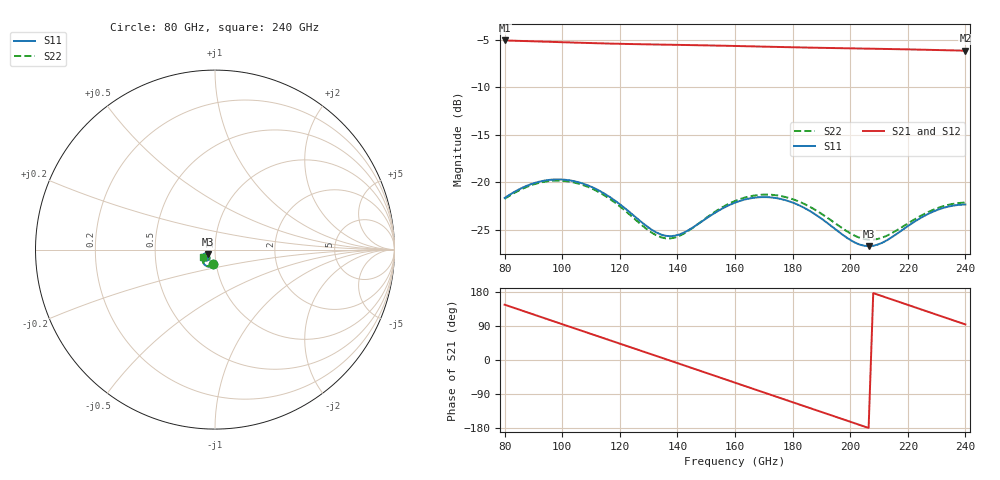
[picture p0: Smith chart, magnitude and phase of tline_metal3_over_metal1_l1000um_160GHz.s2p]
#  GHZ S DB R 50
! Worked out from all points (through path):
!   101 points, 80 GHz to 240 GHz, reference 50 ohm
!   highest |S21| = -5.08 dB at 80 GHz (marker M1); lowest = -6.2 dB at 240 GHz (marker M2)
!   group delay of S21, straight-line fit = 7.16 ps
!   lowest |S11| = -26.8 dB at 206.4 GHz (marker M3), VSWR 1.10, Z = 46.3 - j2.47 ohm
!   |S11| at or under -10 dB: start of sweep to end of sweep
!   |S22| runs from -26.1 to -19.9 dB; largest |S21 - S12| = 9e-14
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80  -21.68 -97.0  -5.08 146.0  -5.08 146.0  -21.77 -98.8
88  -20.35 -103.9  -5.15 125.4  -5.15 125.4  -20.47 -105.3
94.4  -19.81 -112.6  -5.21 108.9  -5.21 108.9  -19.94 -113.8
100.8  -19.75 -122.3  -5.27 92.5  -5.27 92.5  -19.89 -123.3
107.2  -20.16 -131.8  -5.33 76.0  -5.33 76.0  -20.31 -132.7
113.6  -21.03 -140.1  -5.38 59.6  -5.38 59.6  -21.21 -140.8
121.6  -22.72 -146.5  -5.44 39.1  -5.44 39.1  -22.96 -146.9
128  -24.33 -146.0  -5.48 22.7  -5.48 22.7  -24.63 -145.8
134.4  -25.54 -138.8  -5.52 6.3  -5.52 6.3  -25.83 -137.4
139.2  -25.65 -131.0  -5.54 -6.1  -5.54 -6.1  -25.84 -128.8
147.2  -24.42 -122.7  -5.58 -26.7  -5.58 -26.7  -24.41 -120.3
160  -22.17 -128.1  -5.66 -59.8  -5.66 -59.8  -21.99 -126.1
166.4  -21.66 -135.2  -5.70 -76.3  -5.70 -76.3  -21.43 -133.3
172.8  -21.62 -143.1  -5.75 -92.8  -5.75 -92.8  -21.34 -141.2
179.2  -22.07 -150.6  -5.79 -109.3  -5.79 -109.3  -21.72 -148.8
187.2  -23.27 -157.6  -5.84 -129.9  -5.84 -129.9  -22.81 -156.0
196.8  -25.42 -157.9  -5.89 -154.6  -5.89 -154.6  -24.77 -157.1
206.4  -26.75 -144.7  -5.94 -179.4  -5.94 -179.4  -26.08 -146.3
214.4  -25.82 -133.2  -5.99 160.0  -5.99 160.0  -25.39 -135.8
220.8  -24.48 -130.8  -6.03 143.4  -6.03 143.4  -24.21 -133.1
228.8  -23.12 -134.7  -6.08 122.7  -6.08 122.7  -22.93 -136.3
240  -22.37 -145.7  -6.16 93.8  -6.16 93.8  -22.16 -146.5
